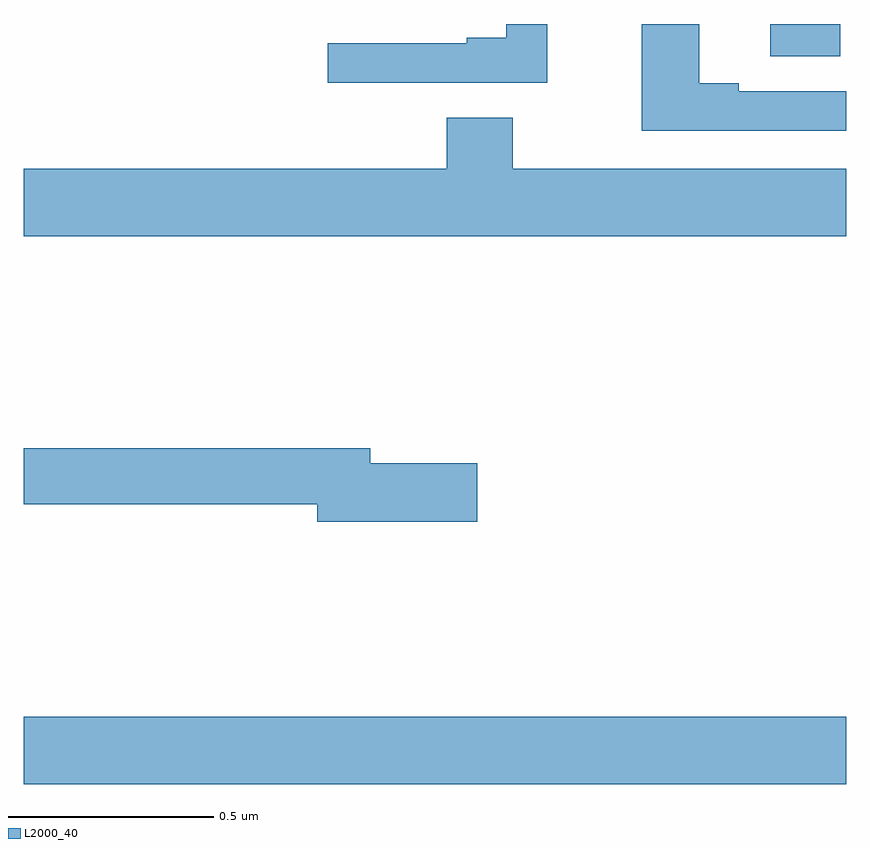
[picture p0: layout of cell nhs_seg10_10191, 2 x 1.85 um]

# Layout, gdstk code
import gdstk
lib = gdstk.Library(unit=1e-6, precision=1e-09)
def R(c, l, rs):  # rectangles x0, y0, x1, y1
    for r in rs: c.add(gdstk.rectangle(r[:2], r[2:], *l))
def P(c, l, *ps):  # polygons
    for p in ps: c.add(gdstk.Polygon(p, *l))
L2000_40 = (2000, 40)

nhs_seg10_10191 = lib.new_cell('nhs_seg10_10191')
R(nhs_seg10_10191, L2000_40, [(239,1297.652,241,1297.816), (240.815,1299.421,240.985,1299.5)])
P(nhs_seg10_10191, L2000_40, [(240.273,1299.5),(240.173,1299.5),(240.173,1299.466),(240.077,1299.466),(240.077,1299.453),(239.739,1299.453),(239.739,1299.357),(240.273,1299.357)],
  [(241,1299.336),(240.739,1299.336),(240.739,1299.356),(240.643,1299.356),(240.643,1299.5),(240.503,1299.5),(240.503,1299.24),(241,1299.24)],
  [(241,1299.148),(240.189,1299.148),(240.189,1299.272),(240.029,1299.272),(240.029,1299.148),(239,1299.148),(239,1298.984),(241,1298.984)],
  [(240.103,1298.432),(239.842,1298.432),(239.842,1298.468),(239,1298.468),(239,1298.332),(239.714,1298.332),(239.714,1298.29),(240.103,1298.29)])

lib.write_gds('nhs_seg10_10191.gds')
